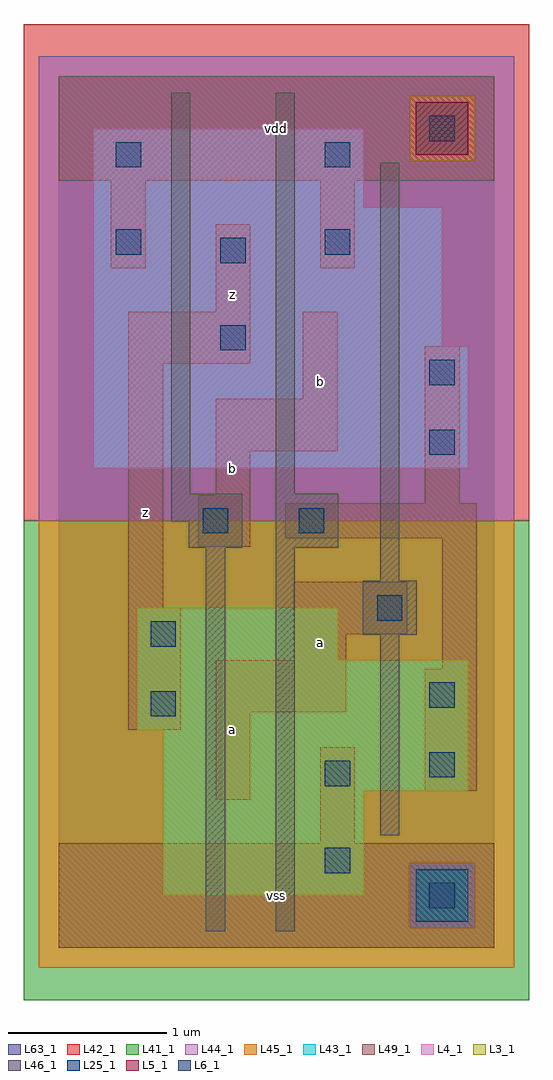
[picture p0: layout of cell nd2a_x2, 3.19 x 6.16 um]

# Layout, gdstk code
import gdstk
lib = gdstk.Library(unit=1e-6, precision=1e-09)
def R(c, l, rs):  # rectangles x0, y0, x1, y1
    for r in rs: c.add(gdstk.rectangle(r[:2], r[2:], *l))
L3_1 = (3, 1)
L4_1 = (4, 1)
L5_1 = (5, 1)
L6_1 = (6, 1)
L25_1 = (25, 1)
L41_1 = (41, 1)
L42_1 = (42, 1)
L43_1 = (43, 1)
L44_1 = (44, 1)
L45_1 = (45, 1)
L46_1 = (46, 1)
L49_1 = (49, 1)
L63_1 = (63, 1)

nd2a_x2 = lib.new_cell('nd2a_x2')
R(nd2a_x2, L3_1, [(0.66,0.33,1.925,0.99), (0.66,0.99,2.585,1.375), (0.495,1.375,2.585,1.815), (0.495,1.815,1.76,2.145)])
R(nd2a_x2, L4_1, [(0.22,3.025,2.585,3.795), (0.22,3.795,2.42,4.675), (0.22,4.675,1.925,5.17)])
R(nd2a_x2, L5_1, [(2.255,5.005,2.585,5.335)])
R(nd2a_x2, L6_1, [(2.255,0.165,2.585,0.495)])
R(nd2a_x2, L25_1, [(2.34,0.25,2.5,0.41), (1.68,0.47,1.84,0.63), (1.68,1.02,1.84,1.18), (2.34,1.075,2.5,1.235), (0.58,1.46,0.74,1.62), (2.34,1.515,2.5,1.675), (0.58,1.9,0.74,2.06), (2.01,2.065,2.17,2.225), (0.91,2.615,1.07,2.775), (1.515,2.615,1.675,2.775), (2.34,3.11,2.5,3.27), (2.34,3.55,2.5,3.71), (1.02,3.77,1.18,3.93), (1.02,4.32,1.18,4.48), (0.36,4.375,0.52,4.535), (1.68,4.375,1.84,4.535), (0.36,4.925,0.52,5.085), (1.68,4.925,1.84,5.085), (2.34,5.09,2.5,5.25)])
R(nd2a_x2, L41_1, [(-0.22,-0.33,2.97,2.695)])
R(nd2a_x2, L42_1, [(-0.22,2.695,2.97,5.83)])
R(nd2a_x2, L43_1, [(2.255,0.165,2.585,0.495), (0.66,0.33,1.925,0.99), (0.66,0.99,2.585,1.375), (0.495,1.375,2.585,1.815), (0.495,1.815,1.76,2.145), (0.22,3.025,2.585,3.795), (0.22,3.795,2.42,4.675), (0.22,4.675,1.925,5.17), (2.255,5.005,2.585,5.335)])
R(nd2a_x2, L44_1, [(2.215,0.125,2.625,0.535), (-0.125,2.695,2.875,4.965), (-0.125,4.965,2.215,5.375), (2.625,4.965,2.875,5.375), (-0.125,5.375,2.875,5.625)])
R(nd2a_x2, L45_1, [(-0.125,-0.125,2.875,0.125), (-0.125,0.125,2.215,0.535), (2.625,0.125,2.875,0.535), (-0.125,0.535,2.875,2.695), (2.215,4.965,2.625,5.375)])
R(nd2a_x2, L46_1, [(0.93,0.105,1.05,2.525), (1.37,0.105,1.49,2.525), (2.03,0.71,2.15,1.975), (1.92,1.975,2.26,2.315), (2.03,2.315,2.15,4.955), (0.82,2.525,1.16,2.69), (1.37,2.525,1.765,2.865), (0.71,2.69,1.16,2.865), (0.71,2.865,0.83,5.395), (1.37,2.865,1.49,5.395)])
R(nd2a_x2, L49_1, [(0,0,2.75,0.66), (1.65,0.66,1.87,1.265), (0.99,0.935,1.21,1.485), (2.31,0.99,2.64,1.76), (0.44,1.375,0.77,2.145), (0.99,1.485,1.815,1.815), (2.42,1.76,2.64,2.585), (1.485,1.815,1.815,1.98), (1.485,1.98,2.2,2.31), (0.44,2.145,0.66,3.685), (0.88,2.53,1.21,2.86), (1.43,2.585,2.64,2.805), (2.31,2.805,2.53,3.795), (0.99,2.86,1.21,3.135), (0.99,3.135,1.76,3.465), (1.54,3.465,1.76,4.015), (0.44,3.685,1.21,4.015), (0.99,4.015,1.21,4.565), (0.33,4.29,0.55,4.84), (1.65,4.29,1.87,4.84), (0,4.84,2.75,5.5)])
R(nd2a_x2, L63_1, [(0,0,2.75,5.5)])
nd2a_x2.add(gdstk.Label('a', (1.1,1.375), layer=49, texttype=1))
nd2a_x2.add(gdstk.Label('a', (1.1,1.375), layer=49, texttype=1))
nd2a_x2.add(gdstk.Label('z', (0.55,2.75), layer=49, texttype=1))
nd2a_x2.add(gdstk.Label('z', (0.55,2.75), layer=49, texttype=1))
nd2a_x2.add(gdstk.Label('b', (1.1,3.025), layer=49, texttype=1))
nd2a_x2.add(gdstk.Label('b', (1.1,3.025), layer=49, texttype=1))
nd2a_x2.add(gdstk.Label('z', (1.1,4.125), layer=49, texttype=1))
nd2a_x2.add(gdstk.Label('z', (1.1,4.125), layer=49, texttype=1))
nd2a_x2.add(gdstk.Label('vss', (1.375,0.33), layer=49, texttype=1))
nd2a_x2.add(gdstk.Label('vss', (1.375,0.33), layer=49, texttype=1))
nd2a_x2.add(gdstk.Label('a', (1.65,1.925), layer=49, texttype=1))
nd2a_x2.add(gdstk.Label('a', (1.65,1.925), layer=49, texttype=1))
nd2a_x2.add(gdstk.Label('b', (1.65,3.575), layer=49, texttype=1))
nd2a_x2.add(gdstk.Label('b', (1.65,3.575), layer=49, texttype=1))
nd2a_x2.add(gdstk.Label('vdd', (1.375,5.17), layer=49, texttype=1))
nd2a_x2.add(gdstk.Label('vdd', (1.375,5.17), layer=49, texttype=1))

lib.write_gds('nd2a_x2.gds')
